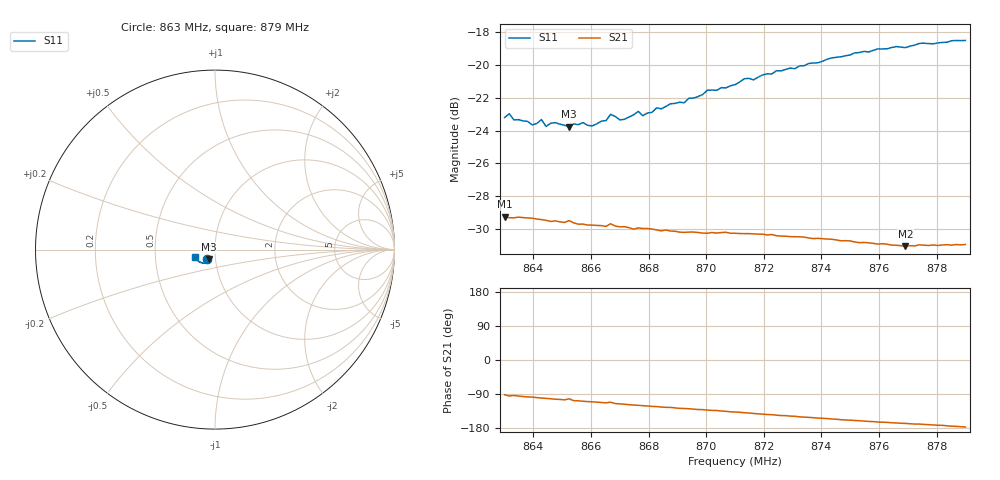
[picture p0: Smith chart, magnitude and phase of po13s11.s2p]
# HZ S RI R 50
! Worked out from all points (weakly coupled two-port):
!   101 points, 863 MHz to 879 MHz, reference 50 ohm
!   highest |S21| = -29.24 dB at 863 MHz (marker M1); lowest = -31.0 dB at 876.92 MHz (marker M2)
!   lowest |S11| = -23.8 dB at 865.24 MHz (marker M3), VSWR 1.14, Z = 46.3 - j5.06 ohm
!   |S11| at or under -10 dB: start of sweep to end of sweep
!   S12 and S22 are empty: the file has one direction only
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8.63e8  -0.0447 -0.0527  -0.00101 -0.0345  0 0  0 0
8.6316e8  -0.0469 -0.0533  -0.00288 -0.0341  0 0  0 0
8.6332e8  -0.0431 -0.0526  -0.00213 -0.0342  0 0  0 0
8.6396e8  -0.0392 -0.0527  -0.00473 -0.0338  0 0  0 0
8.6428e8  -0.0392 -0.0558  -0.00613 -0.0332  0 0  0 0
8.6444e8  -0.0377 -0.0529  -0.00658 -0.033  0 0  0 0
8.6476e8  -0.0389 -0.0542  -0.00788 -0.0326  0 0  0 0
8.6524e8  -0.0352 -0.0544  -0.00721 -0.0328  0 0  0 0
8.6572e8  -0.0359 -0.0563  -0.0106 -0.031  0 0  0 0
8.6604e8  -0.0344 -0.0553  -0.0113 -0.0305  0 0  0 0
8.6668e8  -0.0443 -0.0551  -0.012 -0.0306  0 0  0 0
8.67e8  -0.0341 -0.0588  -0.0139 -0.029  0 0  0 0
8.6764e8  -0.0361 -0.0625  -0.0158 -0.0277  0 0  0 0
8.678e8  -0.0345 -0.0609  -0.0161 -0.0273  0 0  0 0
8.6844e8  -0.0358 -0.0642  -0.0176 -0.0258  0 0  0 0
8.7004e8  -0.0421 -0.0723  -0.0206 -0.0228  0 0  0 0
8.71e8  -0.0463 -0.0737  -0.0225 -0.0209  0 0  0 0
8.7132e8  -0.0496 -0.076  -0.0232 -0.02  0 0  0 0
8.7372e8  -0.0677 -0.0753  -0.0262 -0.0138  0 0  0 0
8.7644e8  -0.0937 -0.063  -0.0274 -0.00704  0 0  0 0
8.7692e8  -0.0965 -0.0586  -0.0274 -0.00617  0 0  0 0
8.79e8  -0.1118 -0.0398  -0.0283 -0.00156  0 0  0 0
